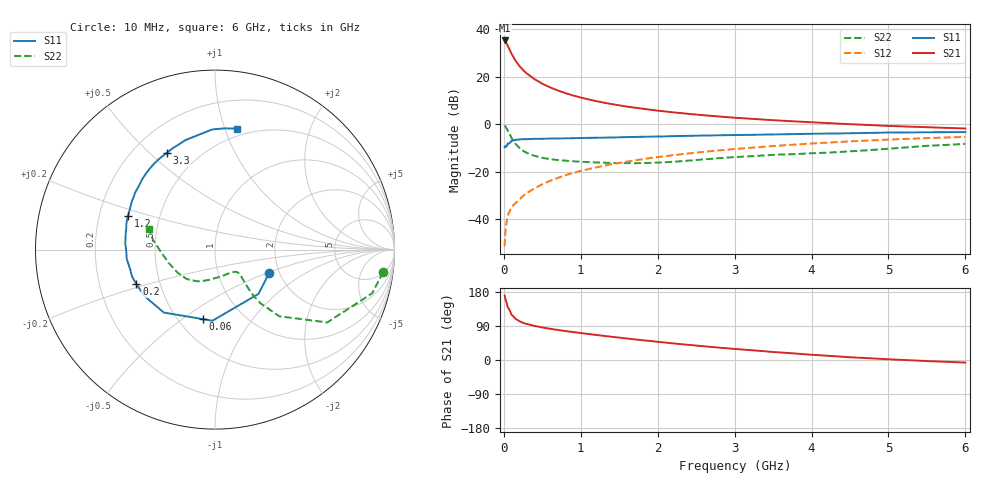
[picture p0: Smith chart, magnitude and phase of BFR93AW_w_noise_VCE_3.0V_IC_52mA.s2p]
! Infineon Technologies  Discrete & RF Semiconductors
! BFR93AW
! VCE =  3.0 V,  IC =  52 mA
! Common Emitter S-Parameters:  Jan 2017
# GHz  S  MA  R  50
!  f  S11  S21  S12  S22
! GHz  MAG  ANG  MAG  ANG  MAG  ANG  MAG  ANG
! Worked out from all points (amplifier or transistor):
!   77 points, 10 MHz to 6 GHz, reference 50 ohm
!   highest |S21| = 35.3 dB at 10 MHz (marker M1)
!   |S21| within 3 dB of that: start of sweep to 62.77 MHz
!   unconditionally stable (mu >= 1): 388.2 MHz to 2.119 GHz
!   at 130 MHz: K = 0.68, MSG = 31.0 dB, |S12| = -33.9 dB
!   at 2.2 GHz: K = 0.99, MSG = 9.0 dB, |S12| = -13.0 dB
!   at 6 GHz: K = 0.91, MSG = 1.8 dB, |S12| = -5.3 dB
!   lowest NFmin = 2.34 dB at 450 MHz
!   S11 on the Smith chart (normalised r, x): 10 MHz: 1.76, -0.52; 60 MHz: 0.65, -0.60; 200 MHz: 0.37, -0.18; 1.2 GHz: 0.33, +0.17; 3.3 GHz: 0.34, +0.57; 6 GHz: 0.43, +1.10
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0.01  0.3285 -23.8  58.39 170.3  0.0027 79.9  0.9458 -7.6
0.02  0.3461 -45.5  56.76 161.4  0.0054 80.9  0.9091 -15.5
0.03  0.3356 -62.1  52.24 155.1  0.0074 72.7  0.8463 -20.6
0.05  0.3966 -92.1  45.58 139.4  0.0116 65.1  0.7453 -33.0
0.06  0.3933 -100.1  42.25 136.5  0.0129 64.1  0.6972 -34.9
0.1  0.452 -129.1  30.54 119.2  0.0179 61.6  0.5163 -46.0
0.15  0.4697 -146.3  22.07 108.9  0.0217 60.7  0.3904 -49.8
0.2  0.4785 -156.2  17.07 102.7  0.0258 65.2  0.3207 -50.0
0.25  0.4861 -162.5  13.9 98.0  0.031 65.8  0.278 -49.1
0.3  0.4854 -167.3  11.67 94.9  0.0355 66.9  0.2482 -48.1
0.4  0.4945 -174.1  8.89 89.7  0.0445 70.1  0.2159 -46.1
0.5  0.4946 -179.3  7.149 85.8  0.0545 71.9  0.1963 -45.1
0.7  0.5025 173.1  5.164 79.4  0.074 73.1  0.1765 -45.3
0.9  0.508 166.7  4.04 73.7  0.0939 72.5  0.1664 -48.2
1.1  0.5175 161.3  3.347 68.6  0.1136 71.8  0.1599 -52.2
1.2  0.5201 158.7  3.08 66.1  0.1234 70.9  0.1571 -54.7
2.1  0.5566 138.7  1.862 46.0  0.2133 63.7  0.1586 -89.2
3.1  0.596 120.0  1.343 27.7  0.3099 53.6  0.2076 -123.1
3.3  0.6024 116.5  1.279 24.5  0.3286 51.5  0.2164 -128.7
4.1  0.6339 103.6  1.082 12.6  0.4019 42.7  0.2483 -151.7
5.1  0.671 90.0  0.912 1.0  0.4823 31.3  0.314 178.9
6  0.6846 79.7  0.815 -6.8  0.5425 21.2  0.3859 162.5
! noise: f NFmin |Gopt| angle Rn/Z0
0.45  2.34  0.27  -177  0.18
0.9  2.64  0.32  -166  0.18
1.9  3.79  0.54  -132  0.44
2.4  4.52  0.58  -122  0.81
